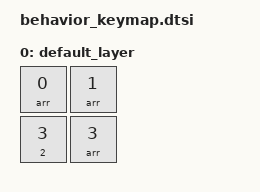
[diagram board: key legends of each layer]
#include <dt-bindings/zmk/keys.h>
#include <behaviors.dtsi>
#include <dt-bindings/zmk/kscan_mock.h>

/ {
    behaviors {
        arr: behavior_array {
            compatible = "zmk,behavior-array";
            #binding-cells = <1>;
            bindings = <&mt LEFT_SHIFT A &kp B &kp C &gresc>;
        };

        ht_bal: behavior_hold_tap_balanced {
            compatible = "zmk,behavior-hold-tap";
            #binding-cells = <2>;
            flavor = "balanced";
            tapping-term-ms = <200>;
            bindings = <&arr>, <&arr>;
        };
    };

    keymap {
        compatible = "zmk,keymap";

        default_layer {
            bindings = <
                &arr 0 &arr 1
                &ht_bal 2 3 &arr 3
            >;
        };
    };
};
